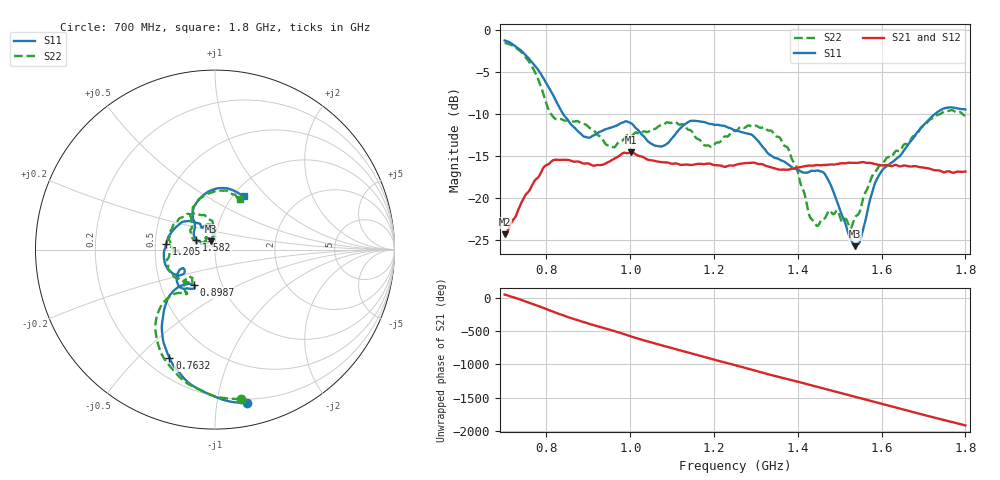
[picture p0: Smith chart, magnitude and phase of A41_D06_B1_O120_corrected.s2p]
! Created with skrf 1.9.0 (http://scikit-rf.org).
# Hz S RI R 50.0
!freq ReS11 ImS11 ReS21 ImS21 ReS12 ImS12 ReS22 ImS22
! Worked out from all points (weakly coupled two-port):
!   1601 points, 700 MHz to 1.8 GHz, reference 50 ohm
!   highest |S21| = -14.54 dB at 1.002 GHz (marker M1); lowest = -24.3 dB at 700.7 MHz (marker M2)
!   lowest |S11| = -25.8 dB at 1.536 GHz (marker M3), VSWR 1.11, Z = 47.5 + j4.39 ohm
!   |S11| at or under -10 dB: 840.1 MHz to 1.727 GHz (886.6 MHz wide, 69.1 % of centre)
!   |S22| runs from -23.6 to -1.5 dB; largest |S21 - S12| = 0.0035
!   S11 on the Smith chart (normalised r, x): 700 MHz: 0.17, -1.21; 763.2 MHz: 0.30, -0.62; 898.7 MHz: 0.73, -0.30; 1.205 GHz: 0.57, +0.04; 1.582 GHz: 0.81, +0.09; 1.8 GHz: 1.12, +0.75
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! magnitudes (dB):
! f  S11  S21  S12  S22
! 700 MHz  -1.2  -24.3  -24.1  -1.5
! 700.7 MHz  -1.2  -24.3  -24.0  -1.5
! 763.2 MHz  -3.7  -18.7  -18.7  -4.1
! 815.5 MHz  -7.7  -15.5  -15.6  -10.3
! 883.6 MHz  -12.4  -15.8  -15.7  -11.1
! 898.7 MHz  -12.8  -15.9  -15.9  -11.4
! 957.8 MHz  -11.5  -15.4  -15.4  -13.9
! 1.002 GHz  -11.1  -14.5  -14.6  -12.6
! 1.067 GHz  -13.8  -15.7  -15.6  -11.4
! 1.143 GHz  -10.8  -16.1  -16.0  -11.9
! 1.205 GHz  -11.3  -16.1  -16.1  -13.4
! 1.25 GHz  -11.9  -16.1  -16.0  -12.0
! 1.357 GHz  -15.4  -16.6  -16.6  -12.8
! 1.395 GHz  -16.5  -16.4  -16.4  -16.1
! 1.434 GHz  -16.7  -16.1  -16.1  -22.6
! 1.469 GHz  -17.6  -16.0  -16.0  -22.0
! 1.536 GHz  -25.8  -15.8  -15.8  -22.4
! 1.55 GHz  -24.9  -15.7  -15.8  -21.3
! 1.582 GHz  -18.5  -15.9  -15.9  -17.0
! 1.617 GHz  -16.0  -16.1  -16.1  -15.1
! 1.733 GHz  -9.7  -16.7  -16.7  -10.1
! 1.8 GHz  -9.4  -16.8  -16.8  -10.1
